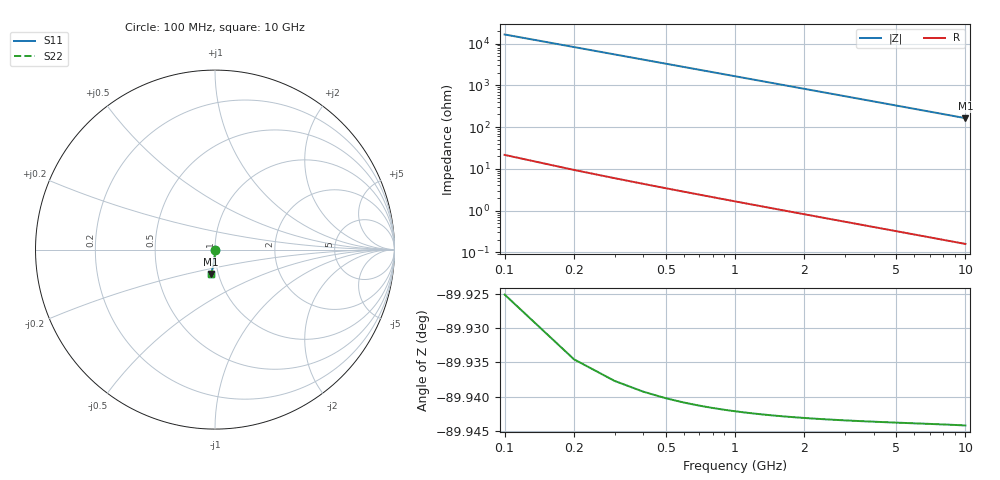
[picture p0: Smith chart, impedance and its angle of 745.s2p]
# Hz S RI R 50.00
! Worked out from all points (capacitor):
!   100 points, 100 MHz to 10 GHz, reference 50 ohm
!   read as one part in shunt: C = 96.6 fF near 100 MHz
!   lowest |Z| = 163 ohm at 10 GHz (marker M1)
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1e8  5.93e-05 -0.00137  0.9999 -0.00166  0.9999 -0.00166  5.93e-05 -0.00137
2e8  5.14e-05 -0.00275  0.9999 -0.00332  0.9999 -0.00332  5.14e-05 -0.00275
3e8  3.88e-05 -0.00412  0.9999 -0.00498  0.9999 -0.00498  3.88e-05 -0.00412
4e8  2.17e-05 -0.00549  0.9999 -0.00664  0.9999 -0.00664  2.17e-05 -0.00549
5e8  -1.19e-07 -0.00687  0.9999 -0.0083  0.9999 -0.0083  -1.19e-07 -0.00687
6e8  -2.65e-05 -0.00824  0.9998 -0.00996  0.9998 -0.00996  -2.65e-05 -0.00824
7e8  -5.74e-05 -0.00961  0.9998 -0.0116  0.9998 -0.0116  -5.74e-05 -0.00961
8e8  -9.3e-05 -0.011  0.9998 -0.0133  0.9998 -0.0133  -9.3e-05 -0.011
9e8  -0.000133 -0.0124  0.9997 -0.0149  0.9997 -0.0149  -0.000133 -0.0124
1.1e9  -0.000227 -0.0151  0.9996 -0.0183  0.9996 -0.0183  -0.000227 -0.0151
1.4e9  -0.000402 -0.0192  0.9995 -0.0232  0.9995 -0.0232  -0.000402 -0.0192
1.8e9  -0.0007 -0.0247  0.9992 -0.0299  0.9992 -0.0299  -0.0007 -0.0247
2.1e9  -0.000971 -0.0288  0.9989 -0.0349  0.9989 -0.0349  -0.000971 -0.0288
2.5e9  -0.0014 -0.0343  0.9984 -0.0415  0.9984 -0.0415  -0.0014 -0.0343
2.9e9  -0.0019 -0.0398  0.9979 -0.0481  0.9979 -0.0481  -0.0019 -0.0398
3.4e9  -0.00262 -0.0467  0.9972 -0.0564  0.9972 -0.0564  -0.00262 -0.0467
4.2e9  -0.00403 -0.0576  0.9958 -0.0697  0.9958 -0.0697  -0.00403 -0.0576
5.1e9  -0.00595 -0.0699  0.9938 -0.0846  0.9938 -0.0846  -0.00595 -0.0699
5.9e9  -0.00797 -0.0807  0.9917 -0.0977  0.9917 -0.0977  -0.00797 -0.0807
6.7e9  -0.0103 -0.0915  0.9894 -0.1109  0.9894 -0.1109  -0.0103 -0.0915
8.4e9  -0.0161 -0.1143  0.9834 -0.1385  0.9834 -0.1385  -0.0161 -0.1143
1e10  -0.0228 -0.1353  0.9766 -0.1642  0.9766 -0.1642  -0.0228 -0.1353
